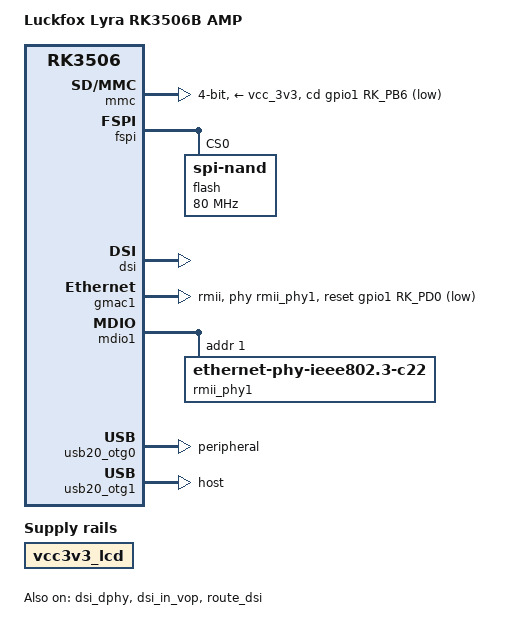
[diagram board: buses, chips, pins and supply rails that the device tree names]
// SPDX-License-Identifier: (GPL-2.0+ OR MIT)
/*
 * Copyright (c) 2024 Rockchip Electronics Co., Ltd.
 */

/dts-v1/;

#include "rk3506-luckfox-lyra-ultra.dtsi"
#include "rk3506-amp.dtsi"

/ {
	model = "Luckfox Lyra RK3506B AMP";
	compatible = "rockchip,rk3506g-demo-display-control", "rockchip,rk3506";

	chosen {
		bootargs = "earlycon=uart8250,mmio32,0xff0a0000 console=tty1 console=ttyFIQ0 root=ubi0:rootfs ubi.mtd=3 rootfstype=ubifs rootwait snd_aloop.index=7 snd_aloop.use_raw_jiffies=1";
	};

	dsm_sound: dsm-sound {
		status = "okay";
		compatible = "simple-audio-card";
		simple-audio-card,format = "i2s";
		simple-audio-card,mclk-fs = <256>;
		simple-audio-card,name = "rockchip-dsm-sound";
		simple-audio-card,bitclock-master = <&dsm_master>;
		simple-audio-card,frame-master = <&dsm_master>;
		simple-audio-card,cpu {
			sound-dai = <&sai3>;
		};
		dsm_master: simple-audio-card,codec {
			sound-dai = <&acdcdig_dsm>;
		};
	};

	vcc3v3_lcd: vcc3v3-lcd {
		status = "okay";
		compatible = "regulator-fixed";
		pinctrl-names = "default";
		pinctrl-0 = <&lcd_pwren_h>;
		regulator-name = "vcc3v3_lcd";
		regulator-always-on;
	};
};

/**********media**********/
&mmc {
	/* For SDMMC */
	max-frequency = <52000000>;
	bus-width = <4>;
	no-sdio;
	no-mmc;
	cap-mmc-highspeed;
	cap-sd-highspeed;
	cd-gpios = <&gpio1 RK_PB6 GPIO_ACTIVE_LOW>; //det
	disable-wp;
	//sd-uhs-sdr104;
	pinctrl-names = "default";
	pinctrl-0 = <&sdmmc_clk_pins &sdmmc_cmd_pins &sdmmc_bus4_pins &sdmmc_det &sdmmc_pwren>;
	vqmmc-supply = <&vcc_3v3>;
	vmmc-supply = <&vcc_3v3>;
	status = "okay";
};

&fspi {
	status = "okay";

	flash@0 {
		compatible = "spi-nand";
		reg = <0>;
		spi-max-frequency = <80000000>;
		spi-rx-bus-width = <4>;
		spi-tx-bus-width = <1>;
	};
};

/**********display**********/
&cma {
	size = <0x2000000>;
};

&dsi {
	status = "okay";
};

&dsi_dphy {
	status = "okay";
};

&dsi_in_vop {
	status = "okay";
};

&route_dsi {
	status = "okay";
};

&dsi_panel {
	power-supply = <&vcc3v3_lcd>;
};

/**********ethernet**********/
&gmac1 {
	phy-mode = "rmii";
	clock_in_out = "output";

	snps,reset-gpio = <&gpio1 RK_PD0 GPIO_ACTIVE_LOW>;
	snps,reset-active-low;
	snps,reset-delays-us = <0 20000 100000>;

	pinctrl-names = "default";
	pinctrl-0 = <&eth_rmii1_miim_pins &eth_rmii1_tx_bus2_pins &eth_rmii1_rx_bus2_pins &eth_rmii1_clk_pins>;

	phy-handle = <&rmii_phy1>;
	status = "okay";
};

&mdio1 {
	rmii_phy1: phy@1 {
		compatible = "ethernet-phy-ieee802.3-c22";
		reg = <0x1>;
	};
};

/**********usb**********/
&usb20_otg0 {
	dr_mode = "peripheral";
	status = "okay";
};

&usb20_otg1 {
	dr_mode = "host";
	status = "okay";
};

/**********Amp**********/
&reserved_memory {
	/* NuttX AMP secondary (CPU2) reserved region.
	 * Sized to cover the full NuttX footprint so Linux never treats any
	 * of it as free System RAM:
	 *   code  0x03e00000 - 0x03f00000  (1MB,  CONFIG_FLASH_*)
	 *   RAM   0x03f00000 - 0x05f00000  (32MB, CONFIG_RAM_SIZE=0x02000000)
	 * Total range: 0x03e00000 - 0x05f00000 = 0x02100000 (33MB).
	 * Load address 0x03e00000 unchanged, so ITS / U-Boot psci_cpu_on need
	 * no edit.
	 *
	 * ==== NuttX RAM upper limit (the NuttX source lives in an external
	 *      repo, so the constraint is documented here) ====
	 * The NuttX RK3506 port maps a fixed 256MB DDR window in its MMU setup
	 * (RK3506_DDR_SECSIZE = 256MB, VA/PA 0x00000000-0x10000000). NuttX RAM
	 * starts at CONFIG_RAM_START = 0x03f00000, so its end must stay within
	 * that window:
	 *   CONFIG_RAM_SIZE <= 0x10000000 - 0x03f00000 = 0x0C100000 (193MB).
	 * Going past 0x10000000 lands in an unmapped region -> data abort on
	 * first access. Whenever CONFIG_RAM_SIZE changes, this amp_reserved
	 * "reg" length MUST be updated to code(1MB) + CONFIG_RAM_SIZE, or Linux
	 * will reclaim the overflow as free RAM and corrupt NuttX.
	 */
	amp_reserved: amp@3e00000 {
		reg = <0x03e00000 0x2100000>;
		no-map;
	};
};

/**********pinctrl**********/
&pinctrl {
	lcd {
		lcd_pwren_h: lcd-pwren-h {
			rockchip,pins = <1 RK_PC4 RK_FUNC_GPIO &pcfg_pull_up>;
		};
	};
};
